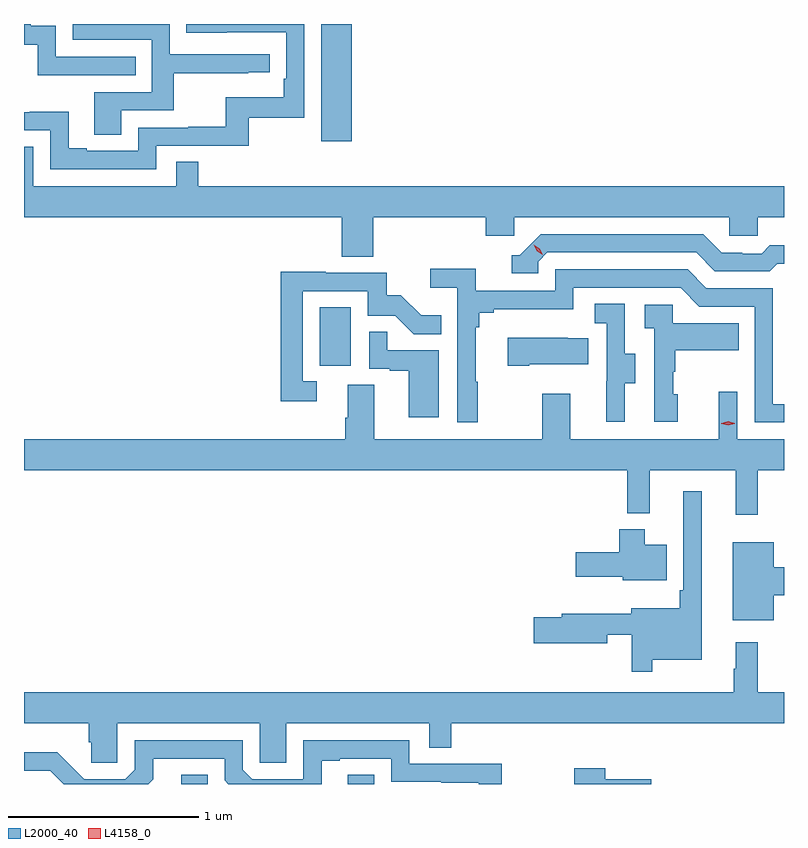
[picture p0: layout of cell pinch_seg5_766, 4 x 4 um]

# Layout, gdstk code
import gdstk
lib = gdstk.Library(unit=1e-6, precision=1e-09)
def R(c, l, rs):  # rectangles x0, y0, x1, y1
    for r in rs: c.add(gdstk.rectangle(r[:2], r[2:], *l))
def P(c, l, *ps):  # polygons
    for p in ps: c.add(gdstk.Polygon(p, *l))
L2000_40 = (2000, 40)
L4158_0 = (4158, 0)

pinch_seg5_766 = lib.new_cell('pinch_seg5_766')
R(pinch_seg5_766, L2000_40, [(841.691,900.397,841.831,900.446), (842.567,900.397,842.707,900.446), (842.42,902.598,842.584,902.905), (842.429,903.78,842.59,904.397)])
P(pinch_seg5_766, L2000_40, [(841.375,903.942),(841.652,903.942),(841.652,904.138),(842.045,904.138),(842.045,904.143),(842.158,904.143),(842.158,904.239),(841.632,904.239),(841.632,904.397),(841.12,904.397),(841.12,904.314),(841.536,904.314),(841.536,904.038),(841.235,904.038),(841.235,903.814),(841.375,903.814)],
  [(841.56,903.756),(842.047,903.756),(842.047,903.903),(842.34,903.903),(842.34,904.397),(841.717,904.397),(841.717,904.352),(841.931,904.352),(841.931,904.353),(842.244,904.353),(842.244,904.108),(842.231,904.108),(842.231,904.012),(841.926,904.012),(841.926,903.857),(841.729,903.857),(841.729,903.852),(841.464,903.852),(841.464,903.729),(841.195,903.729),(841.195,903.742),(841.099,903.742),(841.099,903.935),(840.894,903.935),(840.894,903.933),(840.864,903.933),(840.864,903.837),(841.002,903.837),(841.002,903.633),(841.56,903.633)],
  [(841.451,904.224),(841.032,904.224),(841.032,904.387),(840.9,904.387),(840.9,904.397),(840.864,904.397),(840.864,904.289),(840.936,904.289),(840.936,904.128),(841.451,904.128)],
  [(842.702,903.38),(843.293,903.38),(843.293,903.282),(843.444,903.282),(843.444,903.38),(844.575,903.38),(844.575,903.282),(844.725,903.282),(844.725,903.38),(844.864,903.38),(844.864,903.544),(841.781,903.544),(841.781,903.671),(841.665,903.671),(841.665,903.544),(840.913,903.544),(840.913,903.752),(840.864,903.752),(840.864,903.38),(842.537,903.38),(842.537,903.172),(842.702,903.172)],
  [(843.57,903.147),(843.618,903.195),(844.401,903.195),(844.5,903.096),(844.789,903.096),(844.828,903.135),(844.864,903.135),(844.864,903.232),(844.789,903.232),(844.747,903.189),(844.644,903.189),(844.644,903.192),(844.537,903.192),(844.438,903.291),(843.585,903.291),(843.474,903.18),(843.431,903.18),(843.431,903.084),(843.57,903.084)],
  [(843.253,902.513),(843.241,902.513),(843.241,902.801),(843.26,902.801),(843.26,902.878),(843.337,902.878),(843.337,902.897),(843.756,902.897),(843.756,903.009),(844.32,903.009),(844.419,902.91),(844.71,902.91),(844.71,902.301),(844.864,902.301),(844.864,902.397),(844.806,902.397),(844.806,903.006),(844.456,903.006),(844.357,903.105),(843.66,903.105),(843.66,902.994),(843.242,902.994),(843.242,903.11),(843.003,903.11),(843.003,903.008),(843.144,903.008),(843.144,902.301),(843.253,902.301)],
  [(842.404,902.517),(842.331,902.517),(842.331,902.991),(842.673,902.991),(842.673,902.862),(842.817,902.862),(842.915,902.764),(843.059,902.764),(843.059,902.863),(842.955,902.863),(842.848,902.97),(842.772,902.97),(842.772,903.087),(842.453,903.087),(842.453,903.092),(842.215,903.092),(842.215,902.412),(842.404,902.412)],
  [(844.027,902.506),(844.081,902.506),(844.081,902.661),(844.026,902.661),(844.026,902.924),(843.867,902.924),(843.867,902.821),(843.93,902.821),(843.93,902.517),(843.929,902.517),(843.929,902.304),(844.027,902.304)],
  [(844.306,902.448),(844.281,902.448),(844.281,902.567),(844.291,902.567),(844.291,902.681),(844.625,902.681),(844.625,902.821),(844.278,902.821),(844.278,902.919),(844.131,902.919),(844.131,902.795),(844.182,902.795),(844.182,902.304),(844.306,902.304)],
  [(843.046,902.679),(842.777,902.679),(842.777,902.777),(842.682,902.777),(842.682,902.583),(842.789,902.583),(842.789,902.571),(842.888,902.571),(842.888,902.328),(843.046,902.328)],
  [(843.523,902.606),(843.833,902.606),(843.833,902.743),(843.725,902.743),(843.725,902.746),(843.411,902.746),(843.411,902.599),(843.523,902.599)],
  [(844.727,902.048),(844.864,902.048),(844.864,902.212),(844.617,902.212),(844.617,902.461),(844.52,902.461),(844.52,902.212),(843.739,902.212),(843.739,902.452),(843.592,902.452),(843.592,902.212),(842.707,902.212),(842.707,902.498),(842.567,902.498),(842.567,902.324),(842.555,902.324),(842.555,902.212),(840.864,902.212),(840.864,902.048),(844.039,902.048),(844.039,901.823),(844.157,901.823),(844.157,902.048),(844.61,902.048),(844.61,901.815),(844.727,901.815)],
  [(844.171,901.052),(844.432,901.052),(844.432,901.939),(844.335,901.939),(844.335,901.417),(844.315,901.417),(844.315,901.321),(844.061,901.321),(844.061,901.292),(843.695,901.292),(843.695,901.274),(843.546,901.274),(843.546,901.139),(843.934,901.139),(843.934,901.182),(844.062,901.182),(844.062,900.987),(844.171,900.987)],
  [(844.246,901.657),(844.132,901.657),(844.132,901.738),(843.998,901.738),(843.998,901.617),(843.768,901.617),(843.768,901.487),(844.014,901.487),(844.014,901.469),(844.246,901.469)],
  [(844.81,901.391),(844.864,901.391),(844.864,901.538),(844.81,901.538),(844.81,901.669),(844.595,901.669),(844.595,901.259),(844.81,901.259)],
  [(841.356,900.716),(842.106,900.716),(842.106,900.508),(842.245,900.508),(842.245,900.716),(842.997,900.716),(842.997,900.589),(843.113,900.589),(843.113,900.716),(844.864,900.716),(844.864,900.88),(844.727,900.88),(844.727,901.144),(844.61,901.144),(844.61,901.004),(844.599,901.004),(844.599,900.88),(840.864,900.88),(840.864,900.716),(841.205,900.716),(841.205,900.618),(841.219,900.618),(841.219,900.508),(841.356,900.508)],
  [(841.543,900.421),(841.543,900.531),(841.92,900.531),(841.92,900.417),(841.94,900.397),(842.431,900.397),(842.431,900.519),(842.527,900.519),(842.527,900.531),(842.796,900.531),(842.796,900.408),(843.061,900.408),(843.061,900.403),(843.258,900.403),(843.258,900.397),(843.379,900.397),(843.379,900.504),(842.892,900.504),(842.892,900.627),(842.334,900.627),(842.334,900.423),(842.064,900.423),(842.016,900.471),(842.016,900.627),(841.446,900.627),(841.446,900.471),(841.398,900.423),(841.182,900.423),(841.04,900.565),(840.864,900.565),(840.864,900.468),(841.002,900.468),(841.073,900.397),(841.519,900.397)],
  [(844.165,900.423),(843.922,900.423),(843.922,900.481),(843.761,900.481),(843.761,900.397),(844.165,900.397)])
P(pinch_seg5_766, L4158_0, [(844.57,902.285),(844.534,902.294),(844.534,902.295),(844.534,902.295),(844.57,902.305),(844.605,902.295),(844.605,902.295),(844.605,902.294)],
  [(843.595,903.182),(843.564,903.202),(843.548,903.234),(843.548,903.234),(843.548,903.234),(843.579,903.215),(843.595,903.182),(843.595,903.182)])

lib.write_gds('pinch_seg5_766.gds')
